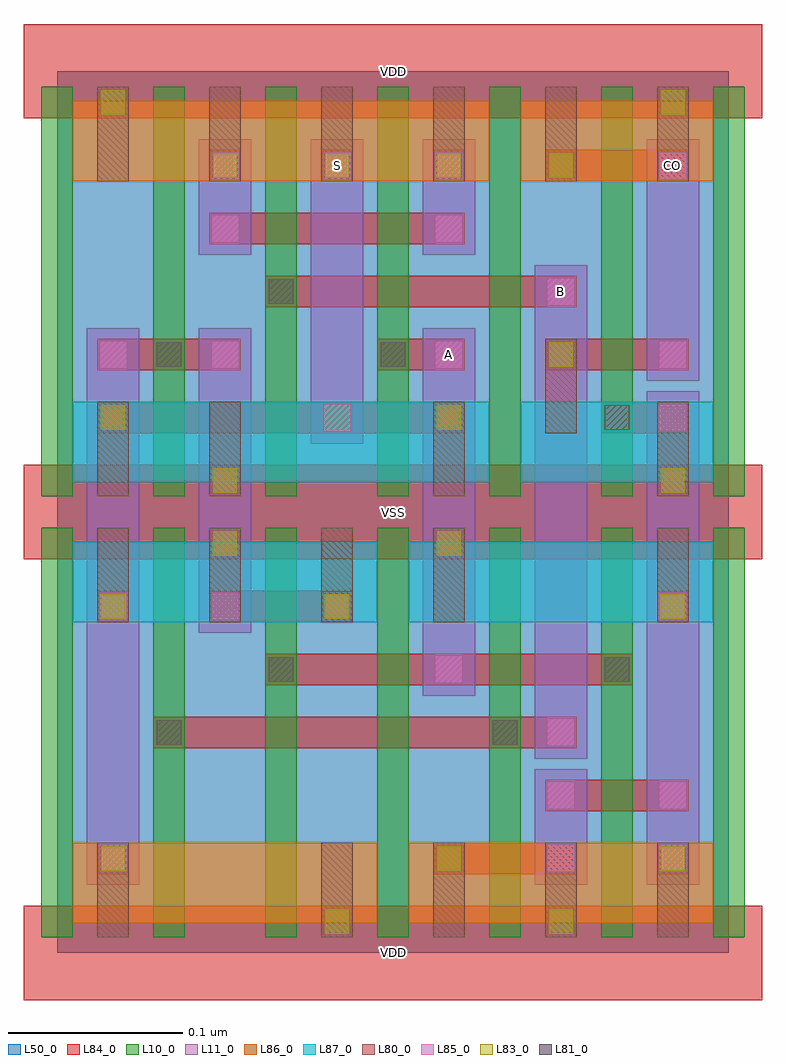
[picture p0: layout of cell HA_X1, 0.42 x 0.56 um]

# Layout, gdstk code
import gdstk
lib = gdstk.Library(unit=1e-6, precision=1e-09)
def R(c, l, rs):  # rectangles x0, y0, x1, y1
    for r in rs: c.add(gdstk.rectangle(r[:2], r[2:], *l))
def A(c, l, x, y, w, h, nx, ny, dx, dy):  # array of equal rectangles
    R(c, l, [(x+i*dx, y+j*dy, x+i*dx+w, y+j*dy+h) for i in range(nx) for j in range(ny)])
L10_0 = (10, 0)
L11_0 = (11, 0)
L50_0 = (50, 0)
L80_0 = (80, 0)
L81_0 = (81, 0)
L83_0 = (83, 0)
L84_0 = (84, 0)
L85_0 = (85, 0)
L86_0 = (86, 0)
L87_0 = (87, 0)

ha_x1 = lib.new_cell('HA_X1')
A(ha_x1, L10_0, -0.009, 0.009, 0.018, 0.234, 7, 2, 0.064, 0.252)
R(ha_x1, L11_0, [(0.017,0.039,0.047,0.357), (0.273,0.039,0.303,0.105), (0.337,0.039,0.367,0.321), (0.273,0.111,0.303,0.393), (0.209,0.147,0.239,0.357), (0.081,0.183,0.111,0.357), (0.145,0.291,0.175,0.465), (0.337,0.327,0.367,0.465), (0.081,0.399,0.111,0.465), (0.209,0.399,0.239,0.465)])
R(ha_x1, L50_0, [(0,0,0.384,0.504)])
A(ha_x1, L80_0, 0.151, 0.009, 0.018, 0.054, 4, 1, 0.064, 0)
A(ha_x1, L80_0, 0.023, 0.189, 0.018, 0.054, 4, 1, 0.064, 0)
A(ha_x1, L80_0, 0.087, 0.261, 0.018, 0.054, 3, 1, 0.128, 0)
A(ha_x1, L80_0, 0.023, 0.441, 0.018, 0.054, 6, 1, 0.064, 0)
R(ha_x1, L80_0, [(0.023,0.009,0.041,0.063), (0.343,0.189,0.361,0.243), (0.023,0.261,0.041,0.315), (0.279,0.297,0.297,0.351)])
R(ha_x1, L81_0, [(0.057,0.119,0.071,0.133), (0.249,0.119,0.263,0.133), (0.121,0.155,0.135,0.169), (0.313,0.155,0.327,0.169), (0.313,0.299,0.327,0.313), (0.057,0.335,0.071,0.349), (0.185,0.335,0.199,0.349), (0.121,0.371,0.135,0.385)])
A(ha_x1, L83_0, 0.089, 0.443, 0.014, 0.014, 4, 1, 0.064, 0)
R(ha_x1, L83_0, [(0.153,0.011,0.167,0.025), (0.281,0.011,0.295,0.025), (0.025,0.047,0.039,0.061), (0.217,0.047,0.231,0.061), (0.345,0.047,0.359,0.061), (0.025,0.191,0.039,0.205), (0.153,0.191,0.167,0.205), (0.345,0.191,0.359,0.205), (0.089,0.227,0.103,0.241), (0.217,0.227,0.231,0.241), (0.089,0.263,0.103,0.277), (0.345,0.263,0.359,0.277), (0.025,0.299,0.039,0.313), (0.217,0.299,0.231,0.313), (0.281,0.335,0.295,0.349), (0.025,0.479,0.039,0.493), (0.345,0.479,0.359,0.493)])
A(ha_x1, L84_0, -0.019, -0.027, 0.422, 0.054, 1, 3, 0, 0.252)
A(ha_x1, L84_0, 0.087, 0.441, 0.018, 0.018, 3, 1, 0.064, 0)
R(ha_x1, L84_0, [(0.023,0.045,0.041,0.063), (0.215,0.045,0.297,0.063), (0.343,0.045,0.361,0.063), (0.279,0.081,0.361,0.099), (0.055,0.117,0.297,0.135), (0.119,0.153,0.329,0.171), (0.023,0.189,0.041,0.207), (0.087,0.189,0.169,0.207), (0.343,0.189,0.361,0.207), (0.023,0.297,0.233,0.315), (0.311,0.297,0.361,0.315), (0.023,0.333,0.105,0.351), (0.183,0.333,0.233,0.351), (0.279,0.333,0.361,0.351), (0.119,0.369,0.297,0.387), (0.087,0.405,0.233,0.423), (0.279,0.441,0.361,0.459)])
A(ha_x1, L85_0, 0.024, 0.046, 0.016, 0.016, 1, 3, 0, 0.144)
A(ha_x1, L85_0, 0.28, 0.046, 0.016, 0.016, 1, 3, 0, 0.036)
A(ha_x1, L85_0, 0.344, 0.082, 0.016, 0.016, 1, 3, 0, 0.108)
A(ha_x1, L85_0, 0.088, 0.334, 0.016, 0.016, 3, 1, 0.128, 0)
A(ha_x1, L85_0, 0.088, 0.442, 0.016, 0.016, 3, 1, 0.064, 0)
R(ha_x1, L85_0, [(0.344,0.046,0.36,0.062), (0.216,0.154,0.232,0.17), (0.088,0.19,0.104,0.206), (0.152,0.298,0.168,0.314), (0.28,0.37,0.296,0.386), (0.088,0.406,0.104,0.422), (0.216,0.406,0.232,0.422), (0.344,0.442,0.36,0.458)])
R(ha_x1, L86_0, [(0.009,0.017,0.183,0.063), (0.201,0.017,0.375,0.063), (0.009,0.441,0.247,0.487), (0.265,0.441,0.375,0.487)])
R(ha_x1, L87_0, [(0.009,0.189,0.183,0.235), (0.201,0.189,0.375,0.235), (0.009,0.269,0.247,0.315), (0.265,0.269,0.375,0.315)])
ha_x1.add(gdstk.Label('VDD', (0.192,0.504), layer=88, texttype=0))
ha_x1.add(gdstk.Label('VDD', (0.192,0), layer=88, texttype=0))
ha_x1.add(gdstk.Label('VSS', (0.192,0.252), layer=88, texttype=0))
ha_x1.add(gdstk.Label('S', (0.16,0.45), layer=31, texttype=0))
ha_x1.add(gdstk.Label('A', (0.224,0.342), layer=31, texttype=0))
ha_x1.add(gdstk.Label('CO', (0.352,0.45), layer=31, texttype=0))
ha_x1.add(gdstk.Label('B', (0.288,0.378), layer=31, texttype=0))

lib.write_gds('HA_X1.gds')
